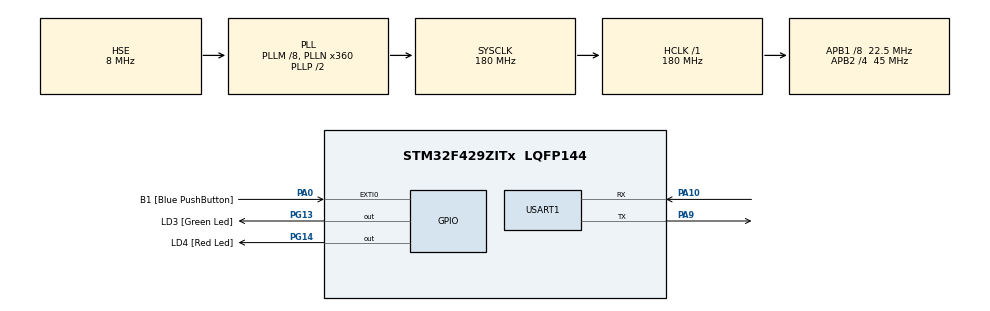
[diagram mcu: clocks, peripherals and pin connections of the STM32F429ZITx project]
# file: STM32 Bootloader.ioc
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Mcu.Family=STM32F4
RCC.PLLSourceVirtual=RCC_PLLSOURCE_HSE
RCC.CortexFreq_Value=180000000
PA10.Mode=Asynchronous
USART1.WordLength=WORDLENGTH_9B
PA0/WKUP.Signal=GPXTI0
RCC.APB1CLKDivider=RCC_HCLK_DIV8
PG13.GPIO_Label=LD3 [Green Led]
PG13.Signal=GPIO_Output
RCC.SYSCLKSource=RCC_SYSCLKSOURCE_PLLCLK
ProjectManager.StackSize=0x400
PG13.GPIO_Mode=GPIO_MODE_OUTPUT_PP
PA13.Signal=SYS_JTMS-SWDIO
PA9.Mode=Asynchronous
ProjectManager.TargetToolchain=STM32CubeIDE
PH0/OSC_IN.Mode=HSE-External-Oscillator
RCC.HCLKFreq_Value=180000000
RCC.APB2TimFreq_Value=90000000
PA9.Signal=USART1_TX
USART1.Parity=PARITY_EVEN
PH1/OSC_OUT.Signal=RCC_OSC_OUT
RCC.LSE_VALUE=32768
RCC.AHBFreq_Value=180000000
PG14.Signal=GPIO_Output
RCC.HSE_VALUE=8000000
board=STM32F429I-DISC1
RCC.VCOOutputFreq_Value=360000000
PG13.GPIO_PuPd=GPIO_NOPULL
PH0/OSC_IN.Signal=RCC_OSC_IN
RCC.APB2Freq_Value=45000000
PA14.Mode=Serial_Wire
PA0/WKUP.GPIO_Label=B1 [Blue PushButton]
PA0/WKUP.GPIO_PuPd=GPIO_PULLDOWN
PA0/WKUP.GPIO_ModeDefaultEXTI=GPIO_MODE_EVT_RISING
PG14.GPIO_PuPd=GPIO_NOPULL
PA13.Mode=Serial_Wire
PG14.GPIO_Label=LD4 [Red Led]
PH1/OSC_OUT.Mode=HSE-External-Oscillator
Mcu.Name=STM32F429ZITx
RCC.48MHZClocksFreq_Value=51428571.428571425
RCC.SYSCLKFreq_VALUE=180000000
Mcu.Package=LQFP144
USART1.VirtualMode=VM_ASYNC
PA10.Signal=USART1_RX
PA14.Signal=SYS_JTCK-SWCLK
ProjectManager.HeapSize=0x0
RCC.HSI_VALUE=16000000
RCC.PLLQ=7
NVIC.PriorityGroup=NVIC_PRIORITYGROUP_0
RCC.APB2CLKDivider=RCC_HCLK_DIV4
RCC.PLLM=8
RCC.PLLN=360
RCC.APB1TimFreq_Value=45000000
PG14.GPIO_Mode=GPIO_MODE_OUTPUT_PP
PG13.GPIO_Speed=GPIO_SPEED_FREQ_VERY_HIGH
RCC.APB1Freq_Value=22500000
VP_CRC_VS_CRC.Mode=CRC_Activate
PG14.GPIO_Speed=GPIO_SPEED_FREQ_VERY_HIGH

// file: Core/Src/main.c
/* USER CODE BEGIN Header */
/**
  ******************************************************************************
  * @file           : main.c
  * @brief          : Main program body
  ******************************************************************************
  * @attention
  *
  * <h2><center>&copy; Copyright (c) 2021 STMicroelectronics.
  * All rights reserved.</center></h2>
  *
  * This software component is licensed by ST under BSD 3-Clause license,
  * the "License"; You may not use this file except in compliance with the
  * License. You may obtain a copy of the License at:
  *                        opensource.org/licenses/BSD-3-Clause
  *
  ******************************************************************************
  */
/* USER CODE END Header */
#include "main.h"
#include "crc.h"
#include "usart.h"
#include "gpio.h"

/* USER CODE BEGIN PD */
#define BL_ACK 0x79
#define BL_NACK 0x1F
#define BL_Version 0x70
#define BL_PID 	0x419
#define BL_Num_Commands 11UL
#define BL_Receive_Buffer_Size	255UL
#define BL_Transmit_Buffer_Size	255UL
/* Bootloader supported commands */
#define BL_Get_Command 0x00
#define BL_Get_Version_And_Protection_Command 0x01
#define	BL_Get_ID_Command	0x02
#define	BL_Read_Memory_Command	0x11
#define	BL_Go_Command	0x21
#define	BL_Write_Memory_Command	0x31
#define	BL_Erase_Memory_Command	0x43
#define	BL_Write_Protect_Command	0x63
#define	BL_Write_Unprotect_Command	0x73
#define	BL_Readout_Protect_Command	0x82
#define	BL_Readout_Unprotect_Command	0x92
/* USER CODE END PD */

/* USER CODE BEGIN PV */
/* Supported commands */
/* Bootloader Receive Buffer */
static uint8_t BL_ReceiveBuffer[BL_Receive_Buffer_Size];
/* Bootloader Transmit Buffer */
static uint8_t BL_TransmitBuffer[BL_Transmit_Buffer_Size];
static const uint8_t BL_Commands[] =
	{0x00, 0x01, 0x02, 0x11, 0x21, 0x31, 0x43, 0x63, 0x73, 0x82, 0x92};
extern uint32_t _flash_start, _flash_end, _ram_start, _ram_end, _Min_Stack_Size;
/* USER CODE END PV */

void SystemClock_Config(void);
/* USER CODE BEGIN PFP */
static ErrorStatus BL_VerifyCommand(uint8_t Command, uint8_t CommandComplement);
static ErrorStatus BL_VerifyChecksum(uint8_t* pData, uint32_t Length);
static void BL_ReverseBytes(void *pStart, uint32_t Length);
static ErrorStatus BL_Get(void);
static ErrorStatus BL_GetVersionAndProtectionStatus(void);
static ErrorStatus BL_GetID(void);
static ErrorStatus BL_ReadMemory(void);
static ErrorStatus BL_Go(void);
static ErrorStatus BL_WriteMemory(void);
static ErrorStatus BL_EraseMemory(void);
static ErrorStatus BL_WriteProtect(void);
static ErrorStatus BL_WriteUnprotect(void);
static ErrorStatus BL_ReadoutProtect(void);
static ErrorStatus BL_ReadoutUnprotect(void);
/* USER CODE END PFP */

/* USER CODE BEGIN 0 */
static ErrorStatus BL_VerifyCommand(uint8_t Command, uint8_t CommandComplement)
{
	ErrorStatus CommandExists = ERROR;
	uint8_t i;
	/* Verify that the command exists */
	for(i = 0; i < BL_Num_Commands; i++)
	{
		if(Command == BL_Commands[i])
		{
			CommandExists = SUCCESS;
			break;
		}
		else
		{

		}
	}
	if((CommandExists == SUCCESS) && ((Command ^ CommandComplement) == 0xFF))
	{
		return SUCCESS;
	}
	else
	{
		return ERROR;
	}
}
static ErrorStatus BL_VerifyChecksum(uint8_t* pData, uint32_t Length)
{
	uint8_t result = 0x00;

	if(Length < 2)
	{
		return ERROR;
	}
	else if(Length == 2)
	{
		if((pData[0] ^ pData[1]) == 0xFF)
		{
			return SUCCESS;
		}
		else
		{
			return ERROR;
		}
	}
	else
	{
		for(int i = 0; i < Length; i++)
		{
			result ^= pData[i];
		}
		if(result == 0x00)
		{
			return SUCCESS;
		}
		else
		{
			return ERROR;
		}
	}

}
static void BL_ReverseBytes(void *pStart, uint32_t Length)
{
    uint8_t *Low = pStart;
    uint8_t *High = pStart + Length - 1;
    uint8_t Swap;
    while (Low < High)
    {
    	Swap = *Low;
        *Low++ = *High;
        *High-- = Swap;
    }
}
static ErrorStatus BL_Get(void)
{
	/* Send ACK byte */
	BL_TransmitBuffer[0] = BL_ACK;
	/* Send the number of bytes (version + commands) */
	BL_TransmitBuffer[1] = BL_Num_Commands;
	/* Send the bootloader version */
	BL_TransmitBuffer[2] = BL_Version;
	HAL_UART_Transmit(&huart1, BL_TransmitBuffer, 3, HAL_MAX_DELAY);
	/* Send the supported commands */
	HAL_UART_Transmit(&huart1, (uint8_t*)BL_Commands, BL_Num_Commands, HAL_MAX_DELAY);
	/* Send ACK byte */
	BL_TransmitBuffer[0] = BL_ACK;
	HAL_UART_Transmit(&huart1, BL_TransmitBuffer, 1, HAL_MAX_DELAY);

	return SUCCESS;
}
static ErrorStatus BL_GetVersionAndProtectionStatus(void)
{
	/* Send ACK byte */
	BL_TransmitBuffer[0] = BL_ACK;
	/* Send the bootloader version */
	BL_TransmitBuffer[1] = BL_Version;
	/* Send option bytes */
	BL_TransmitBuffer[2] = 0x00;
	BL_TransmitBuffer[3] = 0x00;
	/* Send ACK byte */
	BL_TransmitBuffer[4] = BL_ACK;
	HAL_UART_Transmit(&huart1, BL_TransmitBuffer, 5, HAL_MAX_DELAY);

	return SUCCESS;
}
static ErrorStatus BL_GetID(void)
{
	/* Send ACK byte */
	BL_TransmitBuffer[0] = BL_ACK;
	/* Send the number of bytes */
	BL_TransmitBuffer[1] = 1;
	/* Send the process ID */
	BL_TransmitBuffer[2] = (uint8_t)((BL_PID >> 8) & 0xFF);
	BL_TransmitBuffer[3] = (uint8_t)(BL_PID & 0xFF);
	/* Send ACK byte */
	BL_TransmitBuffer[4] = BL_ACK;
	HAL_UART_Transmit(&huart1, BL_TransmitBuffer, 5, HAL_MAX_DELAY);

	return SUCCESS;
}
static ErrorStatus BL_ReadMemory(void)
{
	/* Used for storing read or write addresses */
	uint32_t BL_Address;
	/* Used for storing number of read or written bytes */
	uint32_t BL_NumBytes;

	/* Is RDP active ? */
	if((*(__IO uint8_t*)(OPTCR_BYTE1_ADDRESS) == (uint8_t)OB_RDP_LEVEL_0))
	{
		/* Send ACK byte */
		BL_TransmitBuffer[0] = BL_ACK;
		HAL_UART_Transmit(&huart1, BL_TransmitBuffer, 1, HAL_MAX_DELAY);
	}
	else
	{
		return ERROR;
	}

	/* Receive the start address (4 bytes) with checksum */
	if(HAL_OK == HAL_UART_Receive(&huart1, BL_ReceiveBuffer, 5, HAL_MAX_DELAY))
	{

	}
	else
	{
		return ERROR;
	}

	/* Address valid and checksum ok ? */
	if(SUCCESS == BL_VerifyChecksum(BL_ReceiveBuffer, 5))
	{
		/* Reverse bytes because MSB is received first */
		BL_ReverseBytes(BL_ReceiveBuffer, 4);
		BL_Address = *(uint32_t*)BL_ReceiveBuffer;
		/* Send ACK byte */
		BL_TransmitBuffer[0] = BL_ACK;
		HAL_UART_Transmit(&huart1, BL_TransmitBuffer, 1, HAL_MAX_DELAY);
	}
	else
	{
		return ERROR;
	}

	/* Receive the number of bytes to be read and a checksum */
	if(HAL_OK == HAL_UART_Receive(&huart1, BL_ReceiveBuffer, 2, HAL_MAX_DELAY))
	{

	}
	else
	{
		return ERROR;
	}

	/* Checksum ok ? */
	if(SUCCESS == BL_VerifyChecksum(BL_ReceiveBuffer, 2))
	{
		BL_NumBytes = BL_ReceiveBuffer[0] + 1;
		/* Send ACK byte */
		BL_TransmitBuffer[0] = BL_ACK;
		HAL_UART_Transmit(&huart1, BL_TransmitBuffer, 1, HAL_MAX_DELAY);
	}
	else
	{
		return ERROR;
	}

	/* Send data to host */
	if(HAL_OK == HAL_UART_Transmit(&huart1, (uint8_t*)BL_Address, BL_NumBytes, HAL_MAX_DELAY))
	{

	}
	else
	{
		return ERROR;
	}

	return SUCCESS;
}
static ErrorStatus BL_Go(void)
{
	/* Used for storing read or write addresses */
	uint32_t BL_Address;

	/* Is RDP active ? */
	if((*(__IO uint8_t*)(OPTCR_BYTE1_ADDRESS) == (uint8_t)OB_RDP_LEVEL_0))
	{
		/* Send ACK byte */
		BL_TransmitBuffer[0] = BL_ACK;
		HAL_UART_Transmit(&huart1, BL_TransmitBuffer, 1, HAL_MAX_DELAY);
	}
	else
	{
		return ERROR;
	}

	/* Receive the start address (4 bytes) with checksum */
	if(HAL_OK == HAL_UART_Receive(&huart1, BL_ReceiveBuffer, 5, HAL_MAX_DELAY))
	{
	}
	else
	{
		return ERROR;
	}

	/* Address valid and checksum ok ? */
	if(SUCCESS == BL_VerifyChecksum(BL_ReceiveBuffer, 5))
	{
		/* Reverse bytes because MSB is received first */
		BL_ReverseBytes(BL_ReceiveBuffer, 4);
		BL_Address = *(uint32_t*)BL_ReceiveBuffer;
	}
	else
	{
		return ERROR;
	}

	/* First byte lies in stack */
	/* Send ACK byte */
	BL_TransmitBuffer[0] = BL_ACK;
	HAL_UART_Transmit(&huart1, BL_TransmitBuffer, 1, HAL_MAX_DELAY);

	/* Deinitialize all used peripherals */
	/* Deinitialize GPIO */
	HAL_GPIO_DeInit(B1_GPIO_Port, B1_Pin);
	HAL_GPIO_DeInit(LD3_GPIO_Port, LD3_Pin);
	HAL_GPIO_DeInit(LD4_GPIO_Port, LD4_Pin);
	/* Deinitialize USART */
	HAL_UART_MspDeInit(&huart1);
	/* Deinitialize CRC */
	HAL_CRC_MspDeInit(&hcrc);
	/* Move vector table */
	__DMB();
	SCB->VTOR = BL_Address;
	__DSB();
	/* Set the MSP */
	__set_MSP(*(uint32_t *)BL_Address);
	/* Jump to user application */
	void (*JumpAddress)(void) = (void*)(*((uint32_t*)(BL_Address + 4)));
	JumpAddress();

	return SUCCESS;

}
static ErrorStatus BL_WriteMemory(void)
{
	/* Used for storing read or write addresses */
	uint32_t BL_Address;
	/* Used for storing number of read or written bytes */
	uint32_t BL_NumBytes;
	/* Iterator */
	uint32_t i;

	/* Is RDP active ? */
	if((*(__IO uint8_t*)(OPTCR_BYTE1_ADDRESS) == (uint8_t)OB_RDP_LEVEL_0))
	{
		/* Send ACK byte */
		BL_TransmitBuffer[0] = BL_ACK;
		HAL_UART_Transmit(&huart1, BL_TransmitBuffer, 1, HAL_MAX_DELAY);
	}
	else
	{
		return ERROR;
	}

	/* Receive the start address (4 bytes) with checksum */
	if(HAL_OK == HAL_UART_Receive(&huart1, BL_ReceiveBuffer, 5, HAL_MAX_DELAY))
	{

	}
	else
	{
		return ERROR;
	}

	/* Address valid and checksum ok ? */
	if(SUCCESS == BL_VerifyChecksum(BL_ReceiveBuffer, 5))
	{
		/* Reverse bytes because MSB is received first */
		BL_ReverseBytes(BL_ReceiveBuffer, 4);
		BL_Address = *(uint32_t*)BL_ReceiveBuffer;
		/* Send ACK byte */
		BL_TransmitBuffer[0] = BL_ACK;
		HAL_UART_Transmit(&huart1, BL_TransmitBuffer, 1, HAL_MAX_DELAY);
	}
	else
	{
		return ERROR;
	}

	/* Receive the number of bytes to be written */
	if(HAL_OK == HAL_UART_Receive(&huart1, BL_ReceiveBuffer, 1, HAL_MAX_DELAY))
	{

		BL_NumBytes = BL_ReceiveBuffer[0] + 1;
	}
	else
	{
		return ERROR;
	}

	/* Receive the data and the checksum */
	if(HAL_OK == HAL_UART_Receive(&huart1, BL_ReceiveBuffer, BL_NumBytes + 1, HAL_MAX_DELAY))
	{

	}
	else
	{
		return ERROR;
	}

	/* checksum ok ? */
	if(SUCCESS == BL_VerifyChecksum(BL_ReceiveBuffer, BL_NumBytes + 1))
	{

	}
	else
	{
		return ERROR;
	}

	/* Option byte address */
	if((BL_Address >= 0x1FFFC000 && BL_Address <= 0x1FFFC00F) || (BL_Address >= 0x1FFEC000 && BL_Address <= 0x1FFEC00F))
	{
		/* Unlock option bytes */
		if(HAL_OK == HAL_FLASH_OB_Unlock())
		{
			/* Write the received data to Option byte area from start address */
			*(uint8_t*)BL_Address = BL_ReceiveBuffer[0];

			/* Lock option bytes */
			 HAL_FLASH_OB_Lock();

			/* Send ACK byte */
			BL_TransmitBuffer[0] = BL_ACK;
			HAL_UART_Transmit(&huart1, BL_TransmitBuffer, 1, HAL_MAX_DELAY);
		}
	}
	/* Flash Address */
	else if(((uint32_t*)BL_Address >= &_flash_start) && ((uint32_t*)BL_Address <= &_flash_end))
	{
		/* Unlock the flash memory */
		if(HAL_OK == HAL_FLASH_Unlock())
		{
			for(i = 0; i < BL_NumBytes; i++)
			{
				if(HAL_OK == HAL_FLASH_Program(FLASH_TYPEPROGRAM_BYTE, BL_Address++, BL_ReceiveBuffer[i]))
				{

				}
				else
				{
					return ERROR;
				}
			}

			HAL_FLASH_Lock();
		}
		else
		{
			return ERROR;
		}
	}
	/* RAM Address */
	else if(((uint32_t*)BL_Address >= &_ram_start) && ((uint32_t*)BL_Address < &_ram_end))
	{
		for(i = 0; i < BL_NumBytes; i++)
		{
			*(uint8_t*)BL_Address = BL_ReceiveBuffer[i];
			BL_Address++;
		}
	}
	else
	{
		return ERROR;
	}

	/* Send ACK byte */
	BL_TransmitBuffer[0] = BL_ACK;
	HAL_UART_Transmit(&huart1, BL_TransmitBuffer, 1, HAL_MAX_DELAY);

	return SUCCESS;

}
static ErrorStatus BL_EraseMemory(void)
{
	/* Used for storing the number of pages to be erased */
	uint8_t BL_NumPages;

	/* Used for erasing memory */
	FLASH_EraseInitTypeDef FLASH_EraseInit;
	FLASH_EraseInit.VoltageRange = FLASH_VOLTAGE_RANGE_3;

	/* Used to find which sector caused the error */
	uint32_t SectorError;

	/* Iterator */
	uint32_t i;

	/* Is RDP active ? */
	if((*(__IO uint8_t*)(OPTCR_BYTE1_ADDRESS) == (uint8_t)OB_RDP_LEVEL_0))
	{
		/* Send ACK byte */
		BL_TransmitBuffer[0] = BL_ACK;
		HAL_UART_Transmit(&huart1, BL_TransmitBuffer, 1, HAL_MAX_DELAY);
	}
	else
	{
		return ERROR;
	}

	/* Receive the number of pages to be erased */
	if(HAL_OK == HAL_UART_Receive(&huart1, &BL_NumPages, 1, HAL_MAX_DELAY))
	{

	}
	else
	{
		return ERROR;
	}

	/* Start global erase (Mass Erase) */
	if(BL_NumPages == 0xFF)
	{
		/* Unlock the flash memory */
		if(HAL_OK == HAL_FLASH_Unlock())
		{
			FLASH_EraseInit.Banks = FLASH_BANK_BOTH;
			FLASH_EraseInit.TypeErase = FLASH_TYPEERASE_MASSERASE;

			if(HAL_OK == HAL_FLASHEx_Erase(&FLASH_EraseInit, &SectorError))
			{

			}
			else
			{
				return ERROR;
			}
			HAL_FLASH_Lock();
		}
		else
		{
			return ERROR;
		}
	}
	else
	{
		/* Receive the page codes */
		if(HAL_OK == HAL_UART_Receive(&huart1, BL_ReceiveBuffer, BL_NumPages + 1, HAL_MAX_DELAY))
		{

		}
		else
		{
			return ERROR;
		}

		/* Checksum OK ? */
		if(SUCCESS == BL_VerifyChecksum(BL_ReceiveBuffer, BL_NumPages + 1))
		{

		}
		else
		{
			return ERROR;
		}

		/* Erase the corresponding pages */
		FLASH_EraseInit.TypeErase = FLASH_TYPEERASE_SECTORS;
		FLASH_EraseInit.NbSectors = 1;

		/* Unlock the flash memory */
		if(HAL_OK == HAL_FLASH_Unlock())
		{
			for(i = 0; i < BL_NumPages; i++)
			{
				FLASH_EraseInit.Sector = (uint32_t)BL_ReceiveBuffer[i];
				if(HAL_OK == HAL_FLASHEx_Erase(&FLASH_EraseInit, &SectorError))
				{

				}
				else
				{
					return ERROR;
				}
			}
			HAL_FLASH_Lock();
		}
		else
		{
			return ERROR;
		}
	}

	/* Send ACK byte */
	BL_TransmitBuffer[0] = BL_ACK;
	HAL_UART_Transmit(&huart1, BL_TransmitBuffer, 1, HAL_MAX_DELAY);

	return SUCCESS;
}
static ErrorStatus BL_WriteProtect(void)
{
	/* Iterator */
	uint32_t i;

	/* Used for storing the number of sectors to be protected */
	uint8_t BL_NumSectors;

	/* Used for enabling write protection */
	FLASH_OBProgramInitTypeDef OBInit;
	OBInit.OptionType = OPTIONBYTE_WRP;
	OBInit.WRPState = OB_WRPSTATE_ENABLE;
	OBInit.Banks = FLASH_BANK_BOTH;

	/* Is RDP active ? */
	if((*(__IO uint8_t*)(OPTCR_BYTE1_ADDRESS) == (uint8_t)OB_RDP_LEVEL_0))
	{
		/* Send ACK byte */
		BL_TransmitBuffer[0] = BL_ACK;
		HAL_UART_Transmit(&huart1, BL_TransmitBuffer, 1, HAL_MAX_DELAY);
	}
	else
	{
		return ERROR;
	}

	/* Receive the number of sectors to be protected */
	if(HAL_OK == HAL_UART_Receive(&huart1, &BL_NumSectors, 1, HAL_MAX_DELAY))
	{

	}
	else
	{
		return ERROR;
	}

	/* Receive the sector codes */
	if(HAL_OK == HAL_UART_Receive(&huart1, BL_ReceiveBuffer, BL_NumSectors + 1, HAL_MAX_DELAY))
	{

	}
	else
	{
		return ERROR;
	}

	/* Checksum OK ? */
	if(SUCCESS == BL_VerifyChecksum(BL_ReceiveBuffer, BL_NumSectors + 1))
	{

	}
	else
	{
		return ERROR;
	}

	/* Unlock the option bytes */
	if(HAL_OK == HAL_FLASH_OB_Unlock())
	{
		/* Enable write protection for selected sectors */
		for(i = 0; i < BL_NumSectors; i++)
		{
			OBInit.WRPSector = BL_ReceiveBuffer[i];
			if(HAL_OK == HAL_FLASHEx_OBProgram(&OBInit))
			{

			}
			else
			{
				return ERROR;
			}
		}
		HAL_FLASH_OB_Lock();
	}
	else
	{
		return ERROR;
	}

	/* Send ACK byte */
	BL_TransmitBuffer[0] = BL_ACK;
	HAL_UART_Transmit(&huart1, BL_TransmitBuffer, 1, HAL_MAX_DELAY);

	return SUCCESS;

}
static ErrorStatus BL_WriteUnprotect(void)
{
	/* Used for disabling write protection */
	FLASH_OBProgramInitTypeDef OBInit;
	OBInit.OptionType = OPTIONBYTE_WRP;
	OBInit.WRPState = OB_WRPSTATE_DISABLE;
	OBInit.Banks = FLASH_BANK_BOTH;
	OBInit.WRPSector = OB_WRP_SECTOR_All;

	/* Is RDP active ? */
	if((*(__IO uint8_t*)(OPTCR_BYTE1_ADDRESS) == (uint8_t)OB_RDP_LEVEL_0))
	{
		/* Send ACK byte */
		BL_TransmitBuffer[0] = BL_ACK;
		HAL_UART_Transmit(&huart1, BL_TransmitBuffer, 1, HAL_MAX_DELAY);
	}
	else
	{
		return ERROR;
	}

	/* Unlock the option bytes */
	if(HAL_OK == HAL_FLASH_OB_Unlock())
	{
		/* Remove the protection for the whole Flash memory */
		if(HAL_OK == HAL_FLASHEx_OBProgram(&OBInit))
		{
			/* Send ACK byte */
			BL_TransmitBuffer[0] = BL_ACK;
			HAL_UART_Transmit(&huart1, BL_TransmitBuffer, 1, HAL_MAX_DELAY);
		}
		else
		{
			return ERROR;
		}
		HAL_FLASH_OB_Lock();
	}
	else
	{
		return ERROR;
	}

	return SUCCESS;
}
static ErrorStatus BL_ReadoutProtect(void)
{
	/* Used for enabling readout protection */
	FLASH_OBProgramInitTypeDef OBInit;
	OBInit.OptionType = OPTIONBYTE_RDP;
	OBInit.RDPLevel = OB_RDP_LEVEL_1;

	/* Is RDP active ? */
	if((*(__IO uint8_t*)(OPTCR_BYTE1_ADDRESS) == (uint8_t)OB_RDP_LEVEL_0))
	{
		/* Send ACK byte */
		BL_TransmitBuffer[0] = BL_ACK;
		HAL_UART_Transmit(&huart1, BL_TransmitBuffer, 1, HAL_MAX_DELAY);
	}
	else
	{
		return ERROR;
	}

	/* Unlock the option bytes */
	if(HAL_OK == HAL_FLASH_OB_Unlock())
	{
		/* Activate Read protection for Flash memory */
		if(HAL_OK == HAL_FLASHEx_OBProgram(&OBInit))
		{
			/* Send ACK byte */
			BL_TransmitBuffer[0] = BL_ACK;
			HAL_UART_Transmit(&huart1, BL_TransmitBuffer, 1, HAL_MAX_DELAY);
		}
		else
		{
			return ERROR;
		}
		HAL_FLASH_OB_Lock();
	}
	else
	{
		return ERROR;
	}

	return SUCCESS;
}
static ErrorStatus BL_ReadoutUnprotect(void)
{
	/* Used for enabling readout protection */
	FLASH_OBProgramInitTypeDef OBInit;
	OBInit.OptionType = OPTIONBYTE_RDP;
	OBInit.RDPLevel = OB_RDP_LEVEL_0;

	/* Send ACK byte */
	BL_TransmitBuffer[0] = BL_ACK;
	HAL_UART_Transmit(&huart1, BL_TransmitBuffer, 1, HAL_MAX_DELAY);

	/* Unlock the option bytes */
	if(HAL_OK == HAL_FLASH_OB_Unlock())
	{
		/* Disable RDP */
		if(HAL_OK == HAL_FLASHEx_OBProgram(&OBInit))
		{
			/* Send ACK byte */
			BL_TransmitBuffer[0] = BL_ACK;
			HAL_UART_Transmit(&huart1, BL_TransmitBuffer, 1, HAL_MAX_DELAY);
		}
		else
		{
			return ERROR;
		}
		HAL_FLASH_OB_Lock();
	}
	else
	{
		return ERROR;
	}

	/* Clear all RAM */

	return SUCCESS;
}
/* USER CODE END 0 */

int main(void)
{
  /* USER CODE BEGIN 1 */
	/* Bootloader current Systick */
	uint32_t BL_CurrentTick = 0;
	/* Commands error status */
	ErrorStatus BL_CommandErrorStatus;
  /* USER CODE END 1 */

  /* MCU Configuration--------------------------------------------------------*/

  /* Reset of all peripherals, Initializes the Flash interface and the Systick. */
  HAL_Init();

  /* USER CODE BEGIN Init */
  HAL_SYSTICK_Config(HAL_RCC_GetHCLKFreq()/1000);

  /* USER CODE END Init */

  /* Configure the system clock */
  SystemClock_Config();

  /* Initialize all configured peripherals */
  MX_GPIO_Init();
  MX_CRC_Init();
  MX_USART1_UART_Init();

  /* Infinite loop */
  while (1)
  {

    /* USER CODE BEGIN 3 */
	/* Start bootloader */
	if(GPIO_PIN_SET ==  HAL_GPIO_ReadPin(B1_GPIO_Port, B1_Pin))
	{
		while(1)
		{
			/* Flash green LED */
			if(HAL_GetTick() - BL_CurrentTick > 500)
			{
				HAL_GPIO_TogglePin(LD3_GPIO_Port, LD3_Pin);
				BL_CurrentTick = HAL_GetTick();
			}
			/* Wait for command */
			if(HAL_OK == HAL_UART_Receive(&huart1, BL_ReceiveBuffer, 2, 5))
			{
				/* Verify that it is a valid command */
				if(SUCCESS == BL_VerifyCommand(BL_ReceiveBuffer[0], BL_ReceiveBuffer[1]))
				{
					switch(BL_ReceiveBuffer[0])
					{
						case BL_Get_Command:
							BL_CommandErrorStatus = BL_Get();
							break;
						case BL_Get_Version_And_Protection_Command:
							BL_CommandErrorStatus =  BL_GetVersionAndProtectionStatus();
							break;
						case BL_Get_ID_Command:
							BL_CommandErrorStatus = BL_GetID();
							break;
						case BL_Read_Memory_Command:
							BL_CommandErrorStatus = BL_ReadMemory();
							break;
						case BL_Go_Command:
							BL_CommandErrorStatus = BL_Go();
							break;
						case BL_Write_Memory_Command:
							BL_CommandErrorStatus = BL_WriteMemory();
							break;
						case BL_Erase_Memory_Command:
							BL_CommandErrorStatus = BL_EraseMemory();
							break;
						case BL_Write_Protect_Command:
							BL_CommandErrorStatus = BL_WriteProtect();
							break;
						case BL_Write_Unprotect_Command:
							BL_CommandErrorStatus = BL_WriteUnprotect();
							break;
						case BL_Readout_Protect_Command:
							BL_CommandErrorStatus = BL_ReadoutProtect();
							break;
						case BL_Readout_Unprotect_Command:
							BL_CommandErrorStatus = BL_ReadoutUnprotect();
							break;
						default:
							break;
					}

					if(ERROR == BL_CommandErrorStatus)
					{
						/* Send NACK byte */
						BL_TransmitBuffer[0] = BL_NACK;
						HAL_UART_Transmit(&huart1, BL_TransmitBuffer, 1, HAL_MAX_DELAY);
					}
					else
					{

					}
				}
				else
				{
					/* Send NACK byte */
					BL_TransmitBuffer[0] = BL_NACK;
					HAL_UART_Transmit(&huart1, BL_TransmitBuffer, 1, HAL_MAX_DELAY);
				}

			}
			else
			{

			}
		}
	}
	/* Start application */
	else
	{
		while(1);
	}
  }
  /* USER CODE END 3 */
}

void SystemClock_Config(void)
{
  RCC_OscInitTypeDef RCC_OscInitStruct = {0};
  RCC_ClkInitTypeDef RCC_ClkInitStruct = {0};

  /** Configure the main internal regulator output voltage
  */
  __HAL_RCC_PWR_CLK_ENABLE();
  __HAL_PWR_VOLTAGESCALING_CONFIG(PWR_REGULATOR_VOLTAGE_SCALE1);
  /** Initializes the RCC Oscillators according to the specified parameters
  * in the RCC_OscInitTypeDef structure.
  */
  RCC_OscInitStruct.OscillatorType = RCC_OSCILLATORTYPE_HSE;
  RCC_OscInitStruct.HSEState = RCC_HSE_ON;
  RCC_OscInitStruct.PLL.PLLState = RCC_PLL_ON;
  RCC_OscInitStruct.PLL.PLLSource = RCC_PLLSOURCE_HSE;
  RCC_OscInitStruct.PLL.PLLM = 8;
  RCC_OscInitStruct.PLL.PLLN = 360;
  RCC_OscInitStruct.PLL.PLLP = RCC_PLLP_DIV2;
  RCC_OscInitStruct.PLL.PLLQ = 7;
  if (HAL_RCC_OscConfig(&RCC_OscInitStruct) != HAL_OK)
  {
    Error_Handler();
  }
  /** Activate the Over-Drive mode
  */
  if (HAL_PWREx_EnableOverDrive() != HAL_OK)
  {
    Error_Handler();
  }
  /** Initializes the CPU, AHB and APB buses clocks
  */
  RCC_ClkInitStruct.ClockType = RCC_CLOCKTYPE_HCLK|RCC_CLOCKTYPE_SYSCLK
                              |RCC_CLOCKTYPE_PCLK1|RCC_CLOCKTYPE_PCLK2;
  RCC_ClkInitStruct.SYSCLKSource = RCC_SYSCLKSOURCE_PLLCLK;
  RCC_ClkInitStruct.AHBCLKDivider = RCC_SYSCLK_DIV1;
  RCC_ClkInitStruct.APB1CLKDivider = RCC_HCLK_DIV8;
  RCC_ClkInitStruct.APB2CLKDivider = RCC_HCLK_DIV4;

  if (HAL_RCC_ClockConfig(&RCC_ClkInitStruct, FLASH_LATENCY_5) != HAL_OK)
  {
    Error_Handler();
  }
}

void Error_Handler(void)
{
  __disable_irq();
  while (1)
  {
  }
}

/************************ (C) COPYRIGHT STMicroelectronics *****END OF FILE****/
